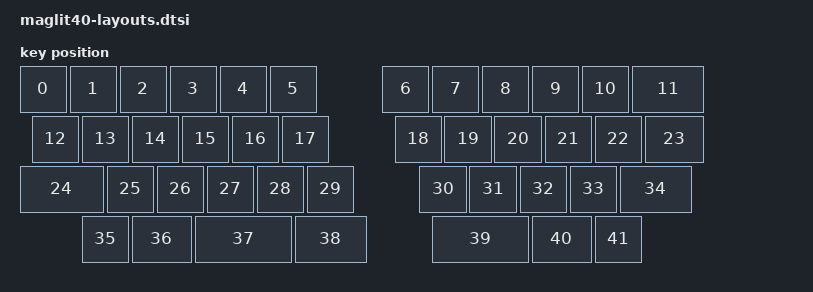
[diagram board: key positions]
#include <physical_layouts.dtsi>

/ {
  Maglit40_default_layout: Maglit40_default_layout {
    compatible = "zmk,physical-layout";
    display-name = "Default layout";
    transform = <&default_transform>;
    kscan = <&kscan0>;

    keys  //                     w   h    x    y     rot    rx    ry
        = <&key_physical_attrs 100 100    0    0       0     0     0>
        , <&key_physical_attrs 100 100  100    0       0     0     0>
        , <&key_physical_attrs 100 100  200    0       0     0     0>
        , <&key_physical_attrs 100 100  300    0       0     0     0>
        , <&key_physical_attrs 100 100  400    0       0     0     0>
        , <&key_physical_attrs 100 100  500    0       0     0     0>
        , <&key_physical_attrs 100 100  725    0       0     0     0>
        , <&key_physical_attrs 100 100  825    0       0     0     0>
        , <&key_physical_attrs 100 100  925    0       0     0     0>
        , <&key_physical_attrs 100 100 1025    0       0     0     0>
        , <&key_physical_attrs 100 100 1125    0       0     0     0>
        , <&key_physical_attrs 150 100 1225    0       0     0     0>
        , <&key_physical_attrs 100 100   25  100       0     0     0>
        , <&key_physical_attrs 100 100  125  100       0     0     0>
        , <&key_physical_attrs 100 100  225  100       0     0     0>
        , <&key_physical_attrs 100 100  325  100       0     0     0>
        , <&key_physical_attrs 100 100  425  100       0     0     0>
        , <&key_physical_attrs 100 100  525  100       0     0     0>
        , <&key_physical_attrs 100 100  750  100       0     0     0>
        , <&key_physical_attrs 100 100  850  100       0     0     0>
        , <&key_physical_attrs 100 100  950  100       0     0     0>
        , <&key_physical_attrs 100 100 1050  100       0     0     0>
        , <&key_physical_attrs 100 100 1150  100       0     0     0>
        , <&key_physical_attrs 125 100 1250  100       0     0     0>
        , <&key_physical_attrs 175 100    0  200       0     0     0>
        , <&key_physical_attrs 100 100  175  200       0     0     0>
        , <&key_physical_attrs 100 100  275  200       0     0     0>
        , <&key_physical_attrs 100 100  375  200       0     0     0>
        , <&key_physical_attrs 100 100  475  200       0     0     0>
        , <&key_physical_attrs 100 100  575  200       0     0     0>
        , <&key_physical_attrs 100 100  800  200       0     0     0>
        , <&key_physical_attrs 100 100  900  200       0     0     0>
        , <&key_physical_attrs 100 100 1000  200       0     0     0>
        , <&key_physical_attrs 100 100 1100  200       0     0     0>
        , <&key_physical_attrs 150 100 1200  200       0     0     0>
        , <&key_physical_attrs 100 100  125  300       0     0     0>
        , <&key_physical_attrs 125 100  225  300       0     0     0>
        , <&key_physical_attrs 200 100  350  300       0     0     0>
        , <&key_physical_attrs 150 100  550  300       0     0     0>
        , <&key_physical_attrs 200 100  825  300       0     0     0>
        , <&key_physical_attrs 125 100 1025  300       0     0     0>
        , <&key_physical_attrs 100 100 1150  300       0     0     0>
        ;
    };
    
    position_map {
        compatible = "zmk,physical-layout-position-map";
        complete;

        default_layout_map: default_layout {
            physical-layout = <&Maglit40_default_layout>;
            positions
                = < 0  1  2  3  4  5     6  7  8  9 10 11>
                , <10 11 12 13 14 15    16 17 18 19 20 21>
                , <20 21 22 23 24 25    26 27 28 29 30 31>
                , <      30 31 32 33    36 37 38         >
                ;
        };
    };
};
